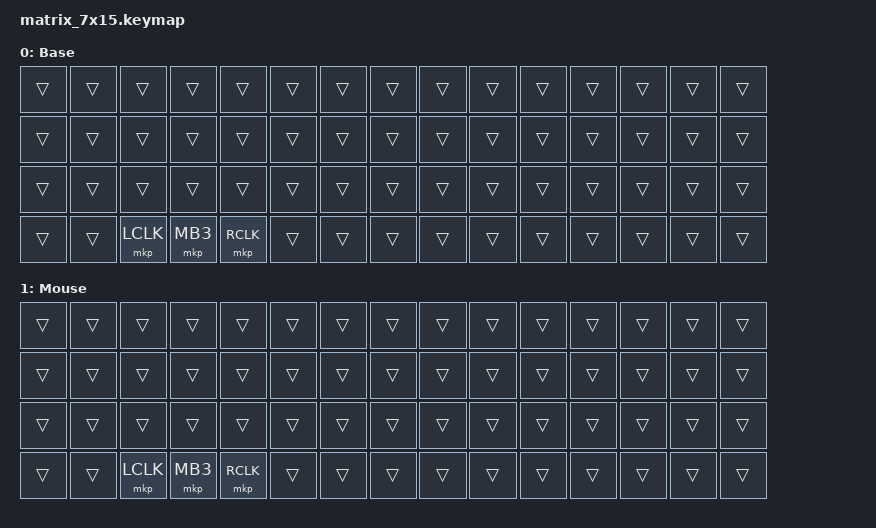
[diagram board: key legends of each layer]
/*
 * ThinkPad 小红点 + 鼠标左/中/右键（默认层一直启用，无需先动小红点）
 * SPDX-License-Identifier: MIT
 */
#define HAS_MOUSE_TP

#include <behaviors.dtsi>
#include <dt-bindings/zmk/keys.h>
#include <dt-bindings/zmk/mouse.h>
#include "include/mouse_tp.dtsi"

/ {
    keymap {
        compatible = "zmk,keymap";

        default_layer {
            display-name = "Base";
            bindings = <
                &trans &trans &trans &trans &trans &trans &trans &trans &trans &trans &trans &trans &trans &trans &trans
                &trans &trans &trans &trans &trans &trans &trans &trans &trans &trans &trans &trans &trans &trans &trans
                &trans &trans &trans &trans &trans &trans &trans &trans &trans &trans &trans &trans &trans &trans &trans
                &trans &trans &mkp LCLK &mkp MB3 &mkp RCLK &trans &trans &trans &trans &trans &trans &trans &trans &trans &trans
            >;
        };

        mouse_layer {
            display-name = "Mouse";
            bindings = <
                &trans &trans &trans &trans &trans &trans &trans &trans &trans &trans &trans &trans &trans &trans &trans
                &trans &trans &trans &trans &trans &trans &trans &trans &trans &trans &trans &trans &trans &trans &trans
                &trans &trans &trans &trans &trans &trans &trans &trans &trans &trans &trans &trans &trans &trans &trans
                &trans &trans &mkp LCLK &mkp MB3 &mkp RCLK &trans &trans &trans &trans &trans &trans &trans &trans &trans &trans
            >;
        };
    };
};
